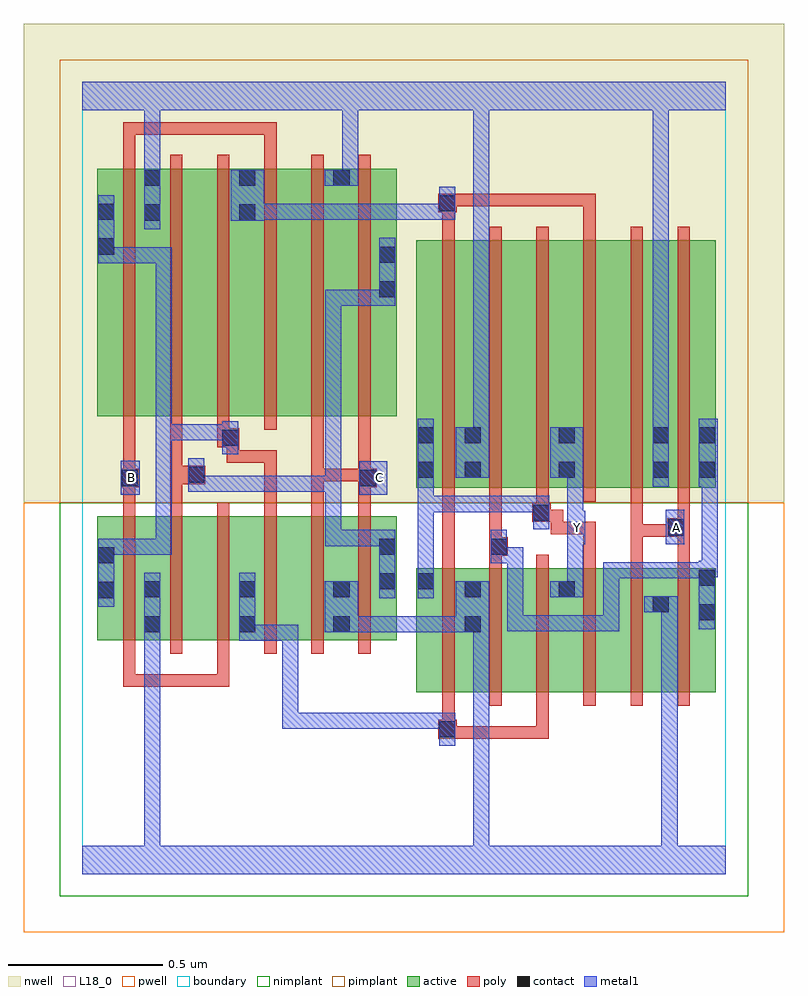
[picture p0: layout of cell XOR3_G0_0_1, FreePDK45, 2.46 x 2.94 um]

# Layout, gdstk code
import gdstk
lib = gdstk.Library(unit=1e-6, precision=1e-09)
def R(c, l, rs):  # rectangles x0, y0, x1, y1
    for r in rs: c.add(gdstk.rectangle(r[:2], r[2:], *l))
def A(c, l, x, y, w, h, nx, ny, dx, dy):  # array of equal rectangles
    R(c, l, [(x+i*dx, y+j*dy, x+i*dx+w, y+j*dy+h) for i in range(nx) for j in range(ny)])
active = (1, 0)
pwell = (2, 0)
nwell = (3, 0)
nimplant = (4, 0)
pimplant = (5, 0)
poly = (9, 0)
contact = (10, 0)
metal1 = (11, 0)
L18_0 = (18, 0)
boundary = (235, 0)

xor3_g0_0_1 = lib.new_cell('XOR3_G0_0_1')
R(xor3_g0_0_1, active, [(1.08,0.588,1.292,0.988), (1.232,0.588,1.412,0.988), (1.412,0.588,1.596,0.988), (1.536,0.588,1.596,0.988), (1.536,0.588,1.716,0.988), (1.716,0.588,1.9,0.988), (1.84,0.588,2.048,0.988), (1.84,0.588,1.9,0.902), (1.988,0.588,2.048,0.988), (0.048,0.756,0.108,1.156), (0.048,0.756,0.256,1.156), (0.196,0.756,0.256,1.156), (0.196,0.756,0.38,1.156), (0.38,0.756,0.564,1.156), (0.504,0.756,0.684,1.156), (0.504,0.756,0.564,0.95), (0.684,0.756,0.868,1.156), (0.808,0.756,1.016,1.156), (0.808,0.756,0.868,0.95), (0.956,0.756,1.016,1.156), (1.08,0.756,1.14,0.988), (1.232,0.756,1.292,0.95), (1.08,1.248,1.14,2.048), (1.08,1.248,1.292,2.048), (1.232,1.248,1.292,2.044), (1.232,1.248,1.412,2.048), (1.412,1.248,1.596,2.048), (1.536,1.248,1.716,2.048), (1.536,1.248,1.596,2.048), (1.716,1.248,1.9,2.048), (1.84,1.248,2.048,2.048), (1.988,1.248,2.048,2.044), (1.84,1.26,1.9,2.044), (0.048,1.48,0.256,2.28), (0.048,1.48,0.108,2.17), (0.196,1.48,0.38,2.28), (0.196,1.48,0.256,2.28), (0.38,1.48,0.564,2.28), (0.504,1.48,0.684,2.28), (0.504,1.48,0.564,2.28), (0.684,1.48,0.868,2.28), (0.808,1.48,1.016,2.28), (0.956,1.48,1.016,2.132), (0.808,1.686,0.868,2.28)])
R(xor3_g0_0_1, pwell, [(-0.188,-0.188,2.268,1.2)])
R(xor3_g0_0_1, nwell, [(-0.188,1.2,2.268,2.748)])
R(xor3_g0_0_1, nimplant, [(-0.072,-0.072,2.152,1.2)])
R(xor3_g0_0_1, pimplant, [(-0.072,1.2,2.152,2.632)])
A(xor3_g0_0_1, poly, 1.164, 0.544, 0.04, 0.488, 6, 1, 0.152, 0)
A(xor3_g0_0_1, poly, 0.132, 0.712, 0.04, 0.488, 6, 1, 0.152, 0)
A(xor3_g0_0_1, poly, 1.164, 1.204, 0.04, 0.888, 6, 1, 0.152, 0)
A(xor3_g0_0_1, poly, 0.132, 1.436, 0.04, 0.888, 6, 1, 0.152, 0)
R(xor3_g0_0_1, poly, [(1.15,0.438,1.21,0.498), (1.17,0.438,1.21,0.478), (1.17,0.438,1.21,0.478), (1.17,0.438,1.316,0.478), (1.276,0.438,1.316,0.478), (1.276,0.438,1.316,0.478), (1.276,0.438,1.316,0.478), (1.276,0.438,1.508,0.478), (1.468,0.438,1.508,0.478), (1.468,0.438,1.508,0.584), (1.164,0.458,1.204,0.584), (0.132,0.606,0.172,0.646), (0.132,0.606,0.172,0.646), (0.132,0.606,0.172,0.646), (0.132,0.606,0.172,0.752), (0.132,0.606,0.37,0.646), (0.33,0.606,0.37,0.646), (0.33,0.606,0.37,0.646), (0.33,0.606,0.37,0.646), (0.33,0.606,0.476,0.646), (0.436,0.606,0.476,0.646), (0.436,0.606,0.476,0.752), (1.164,0.992,1.204,1.068), (1.316,0.992,1.356,1.068), (1.62,0.992,1.66,1.138), (1.772,0.992,1.812,1.13), (1.924,0.992,1.964,1.13), (1.164,1.028,1.204,1.068), (1.164,1.028,1.204,1.068), (1.164,1.028,1.204,1.068), (1.164,1.028,1.204,1.244), (1.316,1.028,1.376,1.088), (1.316,1.048,1.356,1.088), (1.316,1.048,1.356,1.088), (1.316,1.048,1.356,1.244), (1.772,1.09,1.812,1.13), (1.772,1.09,1.812,1.13), (1.772,1.09,1.812,1.13), (1.772,1.09,1.964,1.13), (1.772,1.09,1.812,1.244), (1.89,1.09,1.964,1.15), (1.924,1.09,1.964,1.13), (1.924,1.09,1.964,1.13), (1.924,1.09,1.964,1.13), (1.924,1.09,1.964,1.13), (1.514,1.098,1.66,1.138), (1.514,1.098,1.554,1.178), (1.62,1.098,1.66,1.138), (1.62,1.098,1.66,1.138), (1.62,1.098,1.66,1.138), (1.924,1.11,1.964,1.244), (1.454,1.138,1.514,1.198), (1.474,1.138,1.554,1.178), (1.468,1.158,1.508,1.244), (0.132,1.16,0.172,1.29), (0.284,1.16,0.324,1.3), (0.588,1.16,0.628,1.37), (0.74,1.16,0.78,1.31), (0.892,1.16,0.932,1.29), (0.124,1.25,0.184,1.31), (0.892,1.25,0.952,1.31), (0.284,1.26,0.398,1.32), (0.132,1.27,0.172,1.31), (0.132,1.27,0.172,1.31), (0.132,1.27,0.172,1.476), (0.74,1.27,0.78,1.31), (0.74,1.27,0.78,1.31), (0.74,1.27,0.78,1.31), (0.74,1.27,0.932,1.31), (0.74,1.27,0.78,1.476), (0.892,1.27,0.932,1.31), (0.892,1.27,0.932,1.31), (0.892,1.27,0.932,1.31), (0.892,1.27,0.932,1.31), (0.892,1.27,0.932,1.476), (0.284,1.28,0.324,1.32), (0.284,1.28,0.324,1.32), (0.284,1.28,0.324,1.476), (0.468,1.33,0.508,1.37), (0.468,1.33,0.508,1.37), (0.468,1.33,0.508,1.37), (0.468,1.33,0.628,1.37), (0.468,1.33,0.508,1.42), (0.588,1.33,0.628,1.37), (0.436,1.38,0.508,1.44), (0.436,1.4,0.476,1.476), (1.164,2.052,1.204,2.178), (1.62,2.052,1.66,2.198), (1.15,2.138,1.21,2.198), (1.17,2.158,1.21,2.198), (1.17,2.158,1.21,2.198), (1.17,2.158,1.342,2.198), (1.302,2.158,1.342,2.198), (1.302,2.158,1.448,2.198), (1.408,2.158,1.448,2.198), (1.408,2.158,1.448,2.198), (1.408,2.158,1.448,2.198), (1.408,2.158,1.66,2.198), (1.62,2.158,1.66,2.198), (1.62,2.158,1.66,2.198), (1.62,2.158,1.66,2.198), (0.132,2.284,0.172,2.43), (0.588,2.284,0.628,2.43), (0.132,2.39,0.172,2.43), (0.132,2.39,0.172,2.43), (0.132,2.39,0.172,2.43), (0.132,2.39,0.37,2.43), (0.33,2.39,0.37,2.43), (0.33,2.39,0.37,2.43), (0.33,2.39,0.37,2.43), (0.33,2.39,0.476,2.43), (0.436,2.39,0.476,2.43), (0.436,2.39,0.628,2.43), (0.588,2.39,0.628,2.43), (0.588,2.39,0.628,2.43), (0.588,2.39,0.628,2.43)])
A(xor3_g0_0_1, contact, 1.236, 1.28, 0.052, 0.052, 3, 2, 0.304, 0.112)
R(xor3_g0_0_1, contact, [(1.154,0.442,1.206,0.494), (0.2,0.782,0.252,0.834), (0.508,0.782,0.56,0.834), (0.812,0.782,0.864,0.834), (1.236,0.782,1.288,0.834), (1.992,0.82,2.044,0.872), (1.844,0.846,1.896,0.898), (0.052,0.892,0.104,0.944), (0.2,0.894,0.252,0.946), (0.508,0.894,0.56,0.946), (0.812,0.894,0.864,0.946), (1.236,0.894,1.288,0.946), (1.54,0.894,1.592,0.946), (0.96,0.92,1.012,0.972), (1.084,0.92,1.136,0.972), (1.992,0.932,2.044,0.984), (0.052,1.004,0.104,1.056), (0.96,1.032,1.012,1.084), (1.32,1.032,1.372,1.084), (1.894,1.094,1.946,1.146), (1.458,1.142,1.51,1.194), (0.128,1.254,0.18,1.306), (0.896,1.254,0.948,1.306), (0.342,1.264,0.394,1.316), (1.084,1.28,1.136,1.332), (1.992,1.28,2.044,1.332), (0.452,1.384,0.504,1.436), (1.084,1.392,1.136,1.444), (1.992,1.392,2.044,1.444), (0.96,1.864,1.012,1.916), (0.96,1.976,1.012,2.028), (0.052,2.002,0.104,2.054), (0.2,2.112,0.252,2.164), (0.508,2.112,0.56,2.164), (0.052,2.114,0.104,2.166), (1.154,2.142,1.206,2.194), (0.2,2.224,0.252,2.276), (0.508,2.224,0.56,2.276), (0.812,2.224,0.864,2.276)])
R(xor3_g0_0_1, metal1, [(0,0,2.08,0.092), (0.2,0.04,0.252,0.092), (0.2,0.04,0.252,0.092), (0.2,0.04,0.252,0.092), (0.2,0.04,0.252,0.092), (0.2,0.04,0.252,0.092), (0.2,0.04,0.252,0.092), (0.2,0.04,0.252,0.092), (0.2,0.04,0.252,0.092), (0.2,0.04,0.252,0.092), (0.2,0.04,0.252,0.092), (0.2,0.04,0.252,0.092), (0.2,0.04,0.252,0.092), (0.2,0.04,0.252,0.806), (1.264,0.04,1.316,0.092), (1.264,0.04,1.316,0.092), (1.264,0.04,1.316,0.092), (1.264,0.04,1.316,0.092), (1.264,0.04,1.316,0.092), (1.264,0.04,1.316,0.092), (1.264,0.04,1.316,0.092), (1.264,0.04,1.316,0.092), (1.264,0.04,1.316,0.092), (1.264,0.04,1.316,0.092), (1.264,0.04,1.316,0.834), (1.872,0.04,1.924,0.092), (1.872,0.04,1.924,0.092), (1.872,0.04,1.924,0.092), (1.872,0.04,1.924,0.092), (1.872,0.04,1.924,0.092), (1.872,0.04,1.924,0.092), (1.872,0.04,1.924,0.092), (1.872,0.04,1.924,0.092), (1.872,0.04,1.924,0.898), (1.154,0.414,1.206,0.522), (0.646,0.47,0.698,0.522), (0.646,0.47,0.808,0.522), (0.646,0.47,0.698,0.806), (0.756,0.47,0.808,0.522), (0.756,0.47,0.808,0.522), (0.756,0.47,0.808,0.522), (0.756,0.47,1.002,0.522), (0.95,0.47,1.002,0.522), (0.95,0.47,1.002,0.522), (0.95,0.47,1.002,0.522), (0.95,0.47,1.15,0.522), (1.098,0.47,1.15,0.522), (1.098,0.47,1.206,0.522), (0.2,0.754,0.252,0.974), (0.508,0.754,0.56,0.974), (0.508,0.754,0.698,0.806), (0.646,0.754,0.698,0.806), (0.646,0.754,0.698,0.806), (0.646,0.754,0.698,0.806), (0.784,0.782,0.892,0.946), (0.84,0.782,1.026,0.834), (0.974,0.782,1.026,0.834), (0.974,0.782,1.026,0.834), (0.974,0.782,1.026,0.834), (0.974,0.782,1.15,0.834), (1.098,0.782,1.15,0.834), (1.098,0.782,1.15,0.834), (1.098,0.782,1.15,0.834), (1.098,0.782,1.26,0.834), (1.208,0.782,1.316,0.946), (1.264,0.782,1.316,0.834), (1.264,0.782,1.316,0.834), (1.374,0.784,1.426,0.836), (1.374,0.784,1.51,0.836), (1.374,0.784,1.426,1.056), (1.458,0.784,1.51,0.836), (1.458,0.784,1.62,0.836), (1.568,0.784,1.62,0.836), (1.568,0.784,1.62,0.836), (1.568,0.784,1.62,0.836), (1.568,0.784,1.736,0.836), (1.684,0.784,1.736,0.836), (1.684,0.784,1.736,1.008), (1.992,0.792,2.044,1.012), (1.816,0.846,1.924,0.898), (1.872,0.846,1.924,0.898), (1.872,0.846,1.924,0.898), (1.872,0.846,1.924,0.898), (1.872,0.846,1.924,0.898), (0.052,0.864,0.104,1.084), (0.96,0.892,1.012,1.112), (1.084,0.892,1.136,1), (1.512,0.894,1.62,0.946), (1.568,0.894,1.62,1.118), (1.084,0.948,1.136,1.222), (1.684,0.956,1.736,1.008), (1.684,0.956,1.736,1.008), (1.684,0.956,1.736,1.008), (1.684,0.956,1.934,1.008), (1.882,0.956,1.934,1.008), (1.882,0.956,1.934,1.008), (1.882,0.956,1.934,1.008), (1.882,0.956,2.044,1.008), (1.992,0.96,2.044,1.012), (1.992,0.96,2.054,1.012), (2.002,0.96,2.054,1.304), (1.32,1.004,1.372,1.112), (1.32,1.004,1.426,1.056), (1.374,1.004,1.426,1.056), (1.374,1.004,1.426,1.056), (1.374,1.004,1.426,1.056), (0.052,1.032,0.104,1.084), (0.052,1.032,0.104,1.084), (0.052,1.032,0.29,1.084), (0.238,1.032,0.29,1.084), (0.238,1.032,0.29,1.084), (0.238,1.032,0.29,1.084), (0.238,1.032,0.29,1.454), (0.786,1.06,0.838,1.112), (0.786,1.06,1.012,1.112), (0.786,1.06,0.838,1.288), (0.96,1.06,1.012,1.112), (0.96,1.06,1.012,1.112), (1.568,1.066,1.626,1.174), (1.886,1.066,1.946,1.178), (1.458,1.114,1.51,1.222), (1.568,1.122,1.62,1.332), (1.084,1.17,1.136,1.222), (1.084,1.17,1.136,1.222), (1.084,1.17,1.136,1.222), (1.084,1.17,1.136,1.222), (1.084,1.17,1.136,1.222), (1.084,1.17,1.26,1.222), (1.084,1.17,1.136,1.304), (1.208,1.17,1.26,1.222), (1.208,1.17,1.37,1.222), (1.318,1.17,1.37,1.222), (1.318,1.17,1.37,1.222), (1.318,1.17,1.37,1.222), (1.318,1.17,1.51,1.222), (0.124,1.226,0.186,1.336), (0.896,1.226,0.986,1.334), (0.342,1.236,0.394,1.344), (0.342,1.236,0.422,1.288), (0.37,1.236,0.422,1.288), (0.37,1.236,0.588,1.288), (0.536,1.236,0.588,1.288), (0.536,1.236,0.588,1.288), (0.536,1.236,0.588,1.288), (0.536,1.236,0.698,1.288), (0.646,1.236,0.698,1.288), (0.646,1.236,0.698,1.288), (0.646,1.236,0.698,1.288), (0.646,1.236,0.838,1.288), (0.786,1.236,0.838,1.288), (0.786,1.236,0.838,1.288), (0.786,1.236,0.838,1.288), (0.786,1.236,0.838,1.888), (1.084,1.252,1.136,1.472), (1.844,1.252,1.896,1.472), (1.992,1.252,2.054,1.472), (2.002,1.252,2.054,1.304), (2.002,1.252,2.054,1.304), (1.208,1.28,1.316,1.444), (1.512,1.28,1.62,1.444), (1.568,1.28,1.62,1.332), (1.568,1.28,1.62,1.332), (0.452,1.356,0.504,1.464), (1.264,1.392,1.316,2.52), (0.238,1.402,0.29,1.454), (0.238,1.402,0.394,1.454), (0.238,1.402,0.29,2.026), (0.342,1.402,0.394,1.454), (0.342,1.402,0.422,1.454), (0.37,1.402,0.422,1.454), (0.37,1.402,0.504,1.454), (1.844,1.42,1.896,1.472), (1.844,1.42,1.896,1.472), (1.844,1.42,1.896,1.472), (1.844,1.42,1.896,1.472), (1.844,1.42,1.896,1.472), (1.844,1.42,1.896,1.472), (1.844,1.42,1.896,2.52), (0.786,1.836,0.838,1.888), (0.786,1.836,0.838,1.888), (0.786,1.836,0.838,1.888), (0.786,1.836,1.012,1.888), (0.96,1.836,1.012,1.888), (0.96,1.836,1.012,1.888), (0.96,1.836,1.012,2.056), (0.052,1.974,0.104,2.026), (0.052,1.974,0.104,2.026), (0.052,1.974,0.104,2.194), (0.052,1.974,0.29,2.026), (0.238,1.974,0.29,2.026), (0.2,2.084,0.252,2.304), (0.48,2.112,0.588,2.276), (0.536,2.114,0.698,2.166), (0.646,2.114,0.698,2.166), (0.646,2.114,0.698,2.166), (0.646,2.114,0.698,2.166), (0.646,2.114,0.808,2.166), (0.756,2.114,0.808,2.166), (0.756,2.114,0.808,2.166), (0.756,2.114,0.808,2.166), (0.756,2.114,1.002,2.166), (0.95,2.114,1.002,2.166), (0.95,2.114,1.002,2.166), (0.95,2.114,1.002,2.166), (0.95,2.114,1.15,2.166), (1.098,2.114,1.15,2.166), (1.098,2.114,1.15,2.166), (1.098,2.114,1.15,2.166), (1.098,2.114,1.15,2.166), (1.098,2.114,1.15,2.166), (1.098,2.114,1.206,2.166), (1.154,2.114,1.206,2.222), (0.784,2.224,0.892,2.276), (0.84,2.224,0.892,2.276), (0.84,2.224,0.892,2.276), (0.84,2.224,0.892,2.276), (0.84,2.224,0.892,2.276), (0.84,2.224,0.892,2.276), (0.84,2.224,0.892,2.276), (0.84,2.224,0.892,2.276), (0.84,2.224,0.892,2.276), (0.84,2.224,0.892,2.52), (0.2,2.252,0.252,2.304), (0.2,2.252,0.252,2.304), (0.2,2.252,0.252,2.304), (0.2,2.252,0.252,2.304), (0.2,2.252,0.252,2.304), (0.2,2.252,0.252,2.304), (0.2,2.252,0.252,2.52), (0,2.468,2.08,2.56), (0.2,2.468,0.252,2.52), (0.2,2.468,0.252,2.52), (1.264,2.468,1.316,2.52), (1.264,2.468,1.316,2.52), (1.264,2.468,1.316,2.52), (1.264,2.468,1.316,2.52), (1.264,2.468,1.316,2.52), (1.264,2.468,1.316,2.52), (1.264,2.468,1.316,2.52), (1.264,2.468,1.316,2.52), (1.844,2.468,1.896,2.52), (1.844,2.468,1.896,2.52)])
R(xor3_g0_0_1, L18_0, [(0,0,2.08,0.092), (0.2,0.04,0.252,0.092), (0.2,0.04,0.252,0.092), (0.2,0.04,0.252,0.092), (0.2,0.04,0.252,0.092), (0.2,0.04,0.252,0.092), (0.2,0.04,0.252,0.092), (0.2,0.04,0.252,0.092), (0.2,0.04,0.252,0.092), (0.2,0.04,0.252,0.092), (0.2,0.04,0.252,0.092), (0.2,0.04,0.252,0.092), (0.2,0.04,0.252,0.092), (0.2,0.04,0.252,0.806), (1.264,0.04,1.316,0.092), (1.264,0.04,1.316,0.092), (1.264,0.04,1.316,0.092), (1.264,0.04,1.316,0.092), (1.264,0.04,1.316,0.092), (1.264,0.04,1.316,0.092), (1.264,0.04,1.316,0.092), (1.264,0.04,1.316,0.092), (1.264,0.04,1.316,0.092), (1.264,0.04,1.316,0.092), (1.264,0.04,1.316,0.834), (1.872,0.04,1.924,0.092), (1.872,0.04,1.924,0.092), (1.872,0.04,1.924,0.092), (1.872,0.04,1.924,0.092), (1.872,0.04,1.924,0.092), (1.872,0.04,1.924,0.092), (1.872,0.04,1.924,0.092), (1.872,0.04,1.924,0.092), (1.872,0.04,1.924,0.898), (0.2,0.754,0.252,0.974), (0.784,0.782,0.892,0.946), (0.84,0.782,1.026,0.834), (0.974,0.782,1.026,0.834), (0.974,0.782,1.026,0.834), (0.974,0.782,1.026,0.834), (0.974,0.782,1.15,0.834), (1.098,0.782,1.15,0.834), (1.098,0.782,1.15,0.834), (1.098,0.782,1.15,0.834), (1.098,0.782,1.26,0.834), (1.208,0.782,1.316,0.946), (1.264,0.782,1.316,0.834), (1.264,0.782,1.316,0.834), (1.816,0.846,1.924,0.898), (1.872,0.846,1.924,0.898), (1.872,0.846,1.924,0.898), (1.872,0.846,1.924,0.898), (1.872,0.846,1.924,0.898), (1.512,0.894,1.62,0.946), (1.568,0.894,1.62,1.118), (1.568,1.066,1.626,1.174), (1.886,1.066,1.946,1.178), (1.574,1.094,1.626,1.146), (1.894,1.094,1.946,1.146), (1.568,1.122,1.62,1.332), (0.124,1.226,0.186,1.336), (0.896,1.226,0.986,1.334), (1.844,1.252,1.896,1.472), (0.134,1.254,0.186,1.306), (0.934,1.254,0.986,1.306), (1.208,1.28,1.316,1.444), (1.512,1.28,1.62,1.444), (1.568,1.28,1.62,1.332), (1.568,1.28,1.62,1.332), (1.264,1.392,1.316,2.52), (1.844,1.42,1.896,1.472), (1.844,1.42,1.896,1.472), (1.844,1.42,1.896,1.472), (1.844,1.42,1.896,1.472), (1.844,1.42,1.896,1.472), (1.844,1.42,1.896,1.472), (1.844,1.42,1.896,2.52), (0.2,2.084,0.252,2.304), (0.784,2.224,0.892,2.276), (0.84,2.224,0.892,2.276), (0.84,2.224,0.892,2.276), (0.84,2.224,0.892,2.276), (0.84,2.224,0.892,2.276), (0.84,2.224,0.892,2.276), (0.84,2.224,0.892,2.276), (0.84,2.224,0.892,2.276), (0.84,2.224,0.892,2.276), (0.84,2.224,0.892,2.52), (0.2,2.252,0.252,2.304), (0.2,2.252,0.252,2.304), (0.2,2.252,0.252,2.304), (0.2,2.252,0.252,2.304), (0.2,2.252,0.252,2.304), (0.2,2.252,0.252,2.304), (0.2,2.252,0.252,2.52), (0,2.468,2.08,2.56), (0.2,2.468,0.252,2.52), (0.2,2.468,0.252,2.52), (1.264,2.468,1.316,2.52), (1.264,2.468,1.316,2.52), (1.264,2.468,1.316,2.52), (1.264,2.468,1.316,2.52), (1.264,2.468,1.316,2.52), (1.264,2.468,1.316,2.52), (1.264,2.468,1.316,2.52), (1.264,2.468,1.316,2.52), (1.844,2.468,1.896,2.52), (1.844,2.468,1.896,2.52)])
R(xor3_g0_0_1, boundary, [(0,0,2.08,2.56)])
xor3_g0_0_1.add(gdstk.Label('A', (1.92,1.12), layer=11, texttype=0))
xor3_g0_0_1.add(gdstk.Label('B', (0.16,1.28), layer=11, texttype=0))
xor3_g0_0_1.add(gdstk.Label('C', (0.96,1.28), layer=11, texttype=0))
xor3_g0_0_1.add(gdstk.Label('Y', (1.6,1.12), layer=11, texttype=0))

lib.write_gds('XOR3_G0_0_1.gds')
